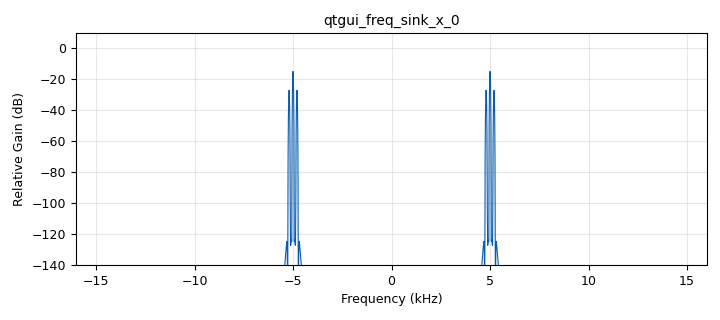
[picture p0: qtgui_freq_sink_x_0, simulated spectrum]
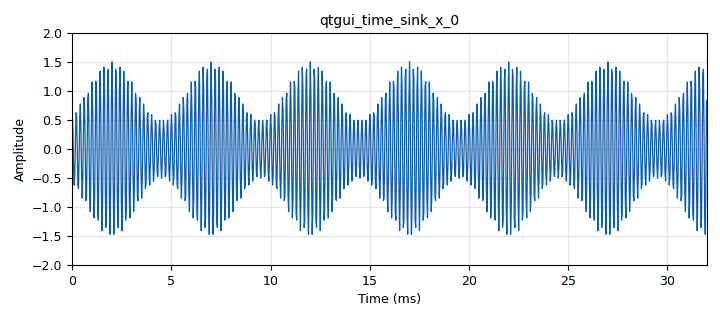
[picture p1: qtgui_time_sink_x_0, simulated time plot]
options:
  parameters:
    author: jithe
    generate_options: qt_gui
    id: am_modulation
    output_language: python
    title: Not titled yet
  states: {}

blocks:
- name: samp_rate
  id: variable
  parameters:
    value: '32000'
  states: {}
- name: analog_sig_source_x_0
  id: analog_sig_source_x
  parameters:
    amp: '0.5'
    freq: '200'
    offset: '0'
    phase: '0'
    samp_rate: samp_rate
    type: float
    waveform: analog.GR_COS_WAVE
  states: {}
- name: analog_sig_source_x_1
  id: analog_sig_source_x
  parameters:
    amp: '1'
    freq: '5000'
    offset: '0'
    phase: '0'
    samp_rate: samp_rate
    type: float
    waveform: analog.GR_COS_WAVE
  states: {}
- name: blocks_add_const_vxx_0
  id: blocks_add_const_vxx
  parameters:
    const: '1'
    type: float
  states: {}
- name: blocks_multiply_xx_0
  id: blocks_multiply_xx
  parameters:
    type: float
  states: {}
- name: qtgui_freq_sink_x_0
  id: qtgui_freq_sink_x
  parameters:
    bw: samp_rate
    fc: '0'
    fftsize: '2048'
    type: float
  states: {}
- name: qtgui_time_sink_x_0
  id: qtgui_time_sink_x
  parameters:
    size: '1024'
    srate: samp_rate
    type: float
    ymax: '2'
    ymin: '-2'
  states: {}

connections:
- [analog_sig_source_x_0, '0', blocks_add_const_vxx_0, '0']
- [analog_sig_source_x_1, '0', blocks_multiply_xx_0, '1']
- [blocks_add_const_vxx_0, '0', blocks_multiply_xx_0, '0']
- [blocks_multiply_xx_0, '0', qtgui_freq_sink_x_0, '0']
- [blocks_multiply_xx_0, '0', qtgui_time_sink_x_0, '0']

metadata:
  file_format: 1
  grc_version: 3.10.12.0
